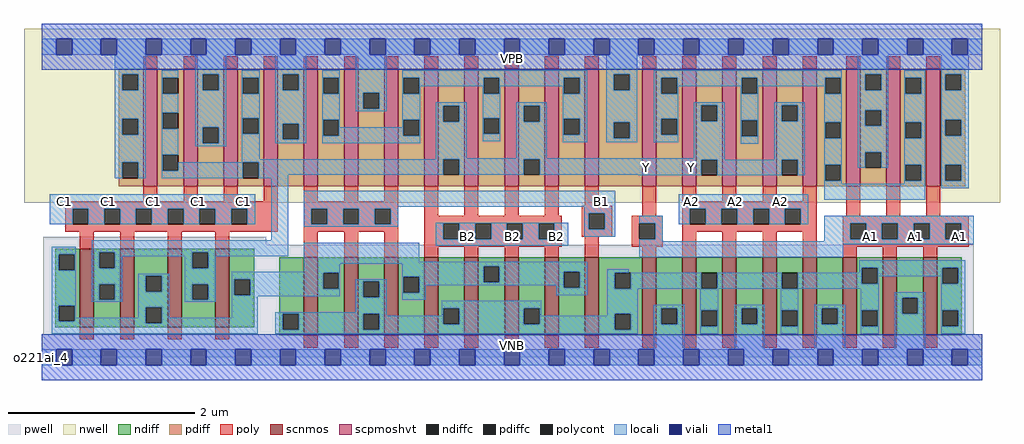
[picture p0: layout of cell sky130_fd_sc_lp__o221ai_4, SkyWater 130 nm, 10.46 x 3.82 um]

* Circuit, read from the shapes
.subckt sky130_fd_sc_lp__o221ai_4 A1 A2 B1 B2 C1 VGND VNB VPB VPWR Y
XM1 Y C1 n1 VNB sky130_fd_pr__nfet_01v8 w=0.84 l=0.15 m=4
XM2 n1 B1 n2 VNB sky130_fd_pr__nfet_01v8 w=0.84 l=0.15 m=4
XM3 n2 B2 n1 VNB sky130_fd_pr__nfet_01v8 w=0.84 l=0.15 m=4
XM4 VGND A1 n2 VNB sky130_fd_pr__nfet_01v8 w=0.84 l=0.15 m=4
XM5 n2 A2 VGND VNB sky130_fd_pr__nfet_01v8 w=0.84 l=0.15 m=4
XM6 Y C1 VPWR VPB sky130_fd_pr__pfet_01v8_hvt w=1.26 l=0.15 m=4
XM7 n3 B1 VPWR VPB sky130_fd_pr__pfet_01v8_hvt w=1.26 l=0.15 m=4
XM8 Y B2 n3 VPB sky130_fd_pr__pfet_01v8_hvt w=1.26 l=0.15 m=4
XM9 n4 A1 VPWR VPB sky130_fd_pr__pfet_01v8_hvt w=1.26 l=0.15 m=4
XM10 Y A2 n4 VPB sky130_fd_pr__pfet_01v8_hvt w=1.26 l=0.15 m=4
.ends

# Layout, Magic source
magic
tech sky130A
magscale 1 2
<< nwell >>
rect -38 331 2054 704
<< pwell >>
rect 3 241 481 259
rect 3 49 1998 241
rect 0 0 2016 49
<< scnmos >>
rect 82 65 112 233
rect 168 65 198 233
rect 270 65 300 233
rect 372 65 402 233
rect 562 47 592 215
rect 648 47 678 215
rect 734 47 764 215
rect 820 47 850 215
rect 906 47 936 215
rect 992 47 1022 215
rect 1078 47 1108 215
rect 1164 47 1194 215
rect 1287 47 1317 215
rect 1373 47 1403 215
rect 1459 47 1489 215
rect 1545 47 1575 215
rect 1631 47 1661 215
rect 1717 47 1747 215
rect 1803 47 1833 215
rect 1889 47 1919 215
<< scpmoshvt >>
rect 218 367 248 619
rect 304 367 334 619
rect 390 367 420 619
rect 476 367 506 619
rect 562 367 592 619
rect 648 367 678 619
rect 734 367 764 619
rect 820 367 850 619
rect 906 367 936 619
rect 992 367 1022 619
rect 1078 367 1108 619
rect 1164 367 1194 619
rect 1287 367 1317 619
rect 1373 367 1403 619
rect 1459 367 1489 619
rect 1545 367 1575 619
rect 1631 367 1661 619
rect 1724 367 1754 619
rect 1810 367 1840 619
rect 1896 367 1926 619
<< ndiff >>
rect 29 221 82 233
rect 29 187 37 221
rect 71 187 82 221
rect 29 111 82 187
rect 29 77 37 111
rect 71 77 82 111
rect 29 65 82 77
rect 112 225 168 233
rect 112 191 123 225
rect 157 191 168 225
rect 112 157 168 191
rect 112 123 123 157
rect 157 123 168 157
rect 112 65 168 123
rect 198 175 270 233
rect 198 141 223 175
rect 257 141 270 175
rect 198 107 270 141
rect 198 73 223 107
rect 257 73 270 107
rect 198 65 270 73
rect 300 225 372 233
rect 300 191 323 225
rect 357 191 372 225
rect 300 157 372 191
rect 300 123 323 157
rect 357 123 372 157
rect 300 65 372 123
rect 402 167 455 233
rect 402 133 413 167
rect 447 133 455 167
rect 402 65 455 133
rect 509 93 562 215
rect 509 59 517 93
rect 551 59 562 93
rect 509 47 562 59
rect 592 181 648 215
rect 592 147 603 181
rect 637 147 648 181
rect 592 47 648 147
rect 678 163 734 215
rect 678 129 689 163
rect 723 129 734 163
rect 678 93 734 129
rect 678 59 689 93
rect 723 59 734 93
rect 678 47 734 59
rect 764 173 820 215
rect 764 139 775 173
rect 809 139 820 173
rect 764 47 820 139
rect 850 105 906 215
rect 850 71 861 105
rect 895 71 906 105
rect 850 47 906 71
rect 936 195 992 215
rect 936 161 947 195
rect 981 161 992 195
rect 936 47 992 161
rect 1022 105 1078 215
rect 1022 71 1033 105
rect 1067 71 1078 105
rect 1022 47 1078 71
rect 1108 183 1164 215
rect 1108 149 1119 183
rect 1153 149 1164 183
rect 1108 47 1164 149
rect 1194 181 1287 215
rect 1194 147 1228 181
rect 1262 147 1287 181
rect 1194 93 1287 147
rect 1194 59 1228 93
rect 1262 59 1287 93
rect 1194 47 1287 59
rect 1317 105 1373 215
rect 1317 71 1328 105
rect 1362 71 1373 105
rect 1317 47 1373 71
rect 1403 181 1459 215
rect 1403 147 1414 181
rect 1448 147 1459 181
rect 1403 101 1459 147
rect 1403 67 1414 101
rect 1448 67 1459 101
rect 1403 47 1459 67
rect 1489 105 1545 215
rect 1489 71 1500 105
rect 1534 71 1545 105
rect 1489 47 1545 71
rect 1575 181 1631 215
rect 1575 147 1586 181
rect 1620 147 1631 181
rect 1575 101 1631 147
rect 1575 67 1586 101
rect 1620 67 1631 101
rect 1575 47 1631 67
rect 1661 105 1717 215
rect 1661 71 1672 105
rect 1706 71 1717 105
rect 1661 47 1717 71
rect 1747 192 1803 215
rect 1747 158 1758 192
rect 1792 158 1803 192
rect 1747 101 1803 158
rect 1747 67 1758 101
rect 1792 67 1803 101
rect 1747 47 1803 67
rect 1833 128 1889 215
rect 1833 94 1844 128
rect 1878 94 1889 128
rect 1833 47 1889 94
rect 1919 192 1972 215
rect 1919 158 1930 192
rect 1964 158 1972 192
rect 1919 101 1972 158
rect 1919 67 1930 101
rect 1964 67 1972 101
rect 1919 47 1972 67
<< pdiff >>
rect 165 607 218 619
rect 165 573 173 607
rect 207 573 218 607
rect 165 511 218 573
rect 165 477 173 511
rect 207 477 218 511
rect 165 418 218 477
rect 165 384 173 418
rect 207 384 218 418
rect 165 367 218 384
rect 248 599 304 619
rect 248 565 259 599
rect 293 565 304 599
rect 248 524 304 565
rect 248 490 259 524
rect 293 490 304 524
rect 248 434 304 490
rect 248 400 259 434
rect 293 400 304 434
rect 248 367 304 400
rect 334 607 390 619
rect 334 573 345 607
rect 379 573 390 607
rect 334 493 390 573
rect 334 459 345 493
rect 379 459 390 493
rect 334 367 390 459
rect 420 599 476 619
rect 420 565 431 599
rect 465 565 476 599
rect 420 513 476 565
rect 420 479 431 513
rect 465 479 476 513
rect 420 418 476 479
rect 420 384 431 418
rect 465 384 476 418
rect 420 367 476 384
rect 506 607 562 619
rect 506 573 517 607
rect 551 573 562 607
rect 506 501 562 573
rect 506 467 517 501
rect 551 467 562 501
rect 506 367 562 467
rect 592 599 648 619
rect 592 565 603 599
rect 637 565 648 599
rect 592 509 648 565
rect 592 475 603 509
rect 637 475 648 509
rect 592 367 648 475
rect 678 567 734 619
rect 678 533 689 567
rect 723 533 734 567
rect 678 367 734 533
rect 764 599 820 619
rect 764 565 775 599
rect 809 565 820 599
rect 764 509 820 565
rect 764 475 775 509
rect 809 475 820 509
rect 764 367 820 475
rect 850 539 906 619
rect 850 505 861 539
rect 895 505 906 539
rect 850 425 906 505
rect 850 391 861 425
rect 895 391 906 425
rect 850 367 906 391
rect 936 599 992 619
rect 936 565 947 599
rect 981 565 992 599
rect 936 513 992 565
rect 936 479 947 513
rect 981 479 992 513
rect 936 367 992 479
rect 1022 539 1078 619
rect 1022 505 1033 539
rect 1067 505 1078 539
rect 1022 425 1078 505
rect 1022 391 1033 425
rect 1067 391 1078 425
rect 1022 367 1078 391
rect 1108 599 1164 619
rect 1108 565 1119 599
rect 1153 565 1164 599
rect 1108 511 1164 565
rect 1108 477 1119 511
rect 1153 477 1164 511
rect 1108 367 1164 477
rect 1194 607 1287 619
rect 1194 573 1226 607
rect 1260 573 1287 607
rect 1194 504 1287 573
rect 1194 470 1226 504
rect 1260 470 1287 504
rect 1194 367 1287 470
rect 1317 599 1373 619
rect 1317 565 1328 599
rect 1362 565 1373 599
rect 1317 511 1373 565
rect 1317 477 1328 511
rect 1362 477 1373 511
rect 1317 367 1373 477
rect 1403 540 1459 619
rect 1403 506 1414 540
rect 1448 506 1459 540
rect 1403 424 1459 506
rect 1403 390 1414 424
rect 1448 390 1459 424
rect 1403 367 1459 390
rect 1489 599 1545 619
rect 1489 565 1500 599
rect 1534 565 1545 599
rect 1489 508 1545 565
rect 1489 474 1500 508
rect 1534 474 1545 508
rect 1489 367 1545 474
rect 1575 540 1631 619
rect 1575 506 1586 540
rect 1620 506 1631 540
rect 1575 424 1631 506
rect 1575 390 1586 424
rect 1620 390 1631 424
rect 1575 367 1631 390
rect 1661 599 1724 619
rect 1661 565 1679 599
rect 1713 565 1724 599
rect 1661 504 1724 565
rect 1661 470 1679 504
rect 1713 470 1724 504
rect 1661 413 1724 470
rect 1661 379 1679 413
rect 1713 379 1724 413
rect 1661 367 1724 379
rect 1754 607 1810 619
rect 1754 573 1765 607
rect 1799 573 1810 607
rect 1754 530 1810 573
rect 1754 496 1765 530
rect 1799 496 1810 530
rect 1754 440 1810 496
rect 1754 406 1765 440
rect 1799 406 1810 440
rect 1754 367 1810 406
rect 1840 599 1896 619
rect 1840 565 1851 599
rect 1885 565 1896 599
rect 1840 504 1896 565
rect 1840 470 1851 504
rect 1885 470 1896 504
rect 1840 413 1896 470
rect 1840 379 1851 413
rect 1885 379 1896 413
rect 1840 367 1896 379
rect 1926 607 1979 619
rect 1926 573 1937 607
rect 1971 573 1979 607
rect 1926 509 1979 573
rect 1926 475 1937 509
rect 1971 475 1979 509
rect 1926 413 1979 475
rect 1926 379 1937 413
rect 1971 379 1979 413
rect 1926 367 1979 379
<< ndiffc >>
rect 37 187 71 221
rect 37 77 71 111
rect 123 191 157 225
rect 123 123 157 157
rect 223 141 257 175
rect 223 73 257 107
rect 323 191 357 225
rect 323 123 357 157
rect 413 133 447 167
rect 517 59 551 93
rect 603 147 637 181
rect 689 129 723 163
rect 689 59 723 93
rect 775 139 809 173
rect 861 71 895 105
rect 947 161 981 195
rect 1033 71 1067 105
rect 1119 149 1153 183
rect 1228 147 1262 181
rect 1228 59 1262 93
rect 1328 71 1362 105
rect 1414 147 1448 181
rect 1414 67 1448 101
rect 1500 71 1534 105
rect 1586 147 1620 181
rect 1586 67 1620 101
rect 1672 71 1706 105
rect 1758 158 1792 192
rect 1758 67 1792 101
rect 1844 94 1878 128
rect 1930 158 1964 192
rect 1930 67 1964 101
<< pdiffc >>
rect 173 573 207 607
rect 173 477 207 511
rect 173 384 207 418
rect 259 565 293 599
rect 259 490 293 524
rect 259 400 293 434
rect 345 573 379 607
rect 345 459 379 493
rect 431 565 465 599
rect 431 479 465 513
rect 431 384 465 418
rect 517 573 551 607
rect 517 467 551 501
rect 603 565 637 599
rect 603 475 637 509
rect 689 533 723 567
rect 775 565 809 599
rect 775 475 809 509
rect 861 505 895 539
rect 861 391 895 425
rect 947 565 981 599
rect 947 479 981 513
rect 1033 505 1067 539
rect 1033 391 1067 425
rect 1119 565 1153 599
rect 1119 477 1153 511
rect 1226 573 1260 607
rect 1226 470 1260 504
rect 1328 565 1362 599
rect 1328 477 1362 511
rect 1414 506 1448 540
rect 1414 390 1448 424
rect 1500 565 1534 599
rect 1500 474 1534 508
rect 1586 506 1620 540
rect 1586 390 1620 424
rect 1679 565 1713 599
rect 1679 470 1713 504
rect 1679 379 1713 413
rect 1765 573 1799 607
rect 1765 496 1799 530
rect 1765 406 1799 440
rect 1851 565 1885 599
rect 1851 470 1885 504
rect 1851 379 1885 413
rect 1937 573 1971 607
rect 1937 475 1971 509
rect 1937 379 1971 413
<< poly >>
rect 218 619 248 645
rect 304 619 334 645
rect 390 619 420 645
rect 476 619 506 645
rect 562 619 592 645
rect 648 619 678 645
rect 734 619 764 645
rect 820 619 850 645
rect 906 619 936 645
rect 992 619 1022 645
rect 1078 619 1108 645
rect 1164 619 1194 645
rect 1287 619 1317 645
rect 1373 619 1403 645
rect 1459 619 1489 645
rect 1545 619 1575 645
rect 1631 619 1661 645
rect 1724 619 1754 645
rect 1810 619 1840 645
rect 1896 619 1926 645
rect 218 335 248 367
rect 304 335 334 367
rect 390 335 420 367
rect 476 335 506 367
rect 50 319 506 335
rect 50 285 66 319
rect 100 285 134 319
rect 168 285 202 319
rect 236 285 270 319
rect 304 285 338 319
rect 372 285 406 319
rect 440 285 506 319
rect 50 269 506 285
rect 562 335 592 367
rect 648 335 678 367
rect 734 335 764 367
rect 562 319 764 335
rect 562 285 578 319
rect 612 285 646 319
rect 680 285 714 319
rect 748 285 764 319
rect 562 269 764 285
rect 82 233 112 269
rect 168 233 198 269
rect 270 233 300 269
rect 372 233 402 269
rect 562 215 592 269
rect 648 215 678 269
rect 734 215 764 269
rect 820 303 850 367
rect 906 303 936 367
rect 992 303 1022 367
rect 1078 303 1108 367
rect 1164 325 1194 367
rect 1157 309 1223 325
rect 820 287 1115 303
rect 820 253 861 287
rect 895 253 929 287
rect 963 253 997 287
rect 1031 253 1065 287
rect 1099 253 1115 287
rect 1157 275 1173 309
rect 1207 275 1223 309
rect 1287 303 1317 367
rect 1373 335 1403 367
rect 1459 335 1489 367
rect 1545 335 1575 367
rect 1631 335 1661 367
rect 1373 319 1661 335
rect 1157 259 1223 275
rect 1265 287 1331 303
rect 820 237 1115 253
rect 820 215 850 237
rect 906 215 936 237
rect 992 215 1022 237
rect 1078 215 1108 237
rect 1164 215 1194 259
rect 1265 253 1281 287
rect 1315 253 1331 287
rect 1265 237 1331 253
rect 1373 285 1389 319
rect 1423 285 1457 319
rect 1491 285 1525 319
rect 1559 285 1593 319
rect 1627 285 1661 319
rect 1724 303 1754 367
rect 1810 303 1840 367
rect 1896 303 1926 367
rect 1373 269 1661 285
rect 1287 215 1317 237
rect 1373 215 1403 269
rect 1459 215 1489 269
rect 1545 215 1575 269
rect 1631 215 1661 269
rect 1717 287 1987 303
rect 1717 253 1733 287
rect 1767 253 1801 287
rect 1835 253 1869 287
rect 1903 253 1937 287
rect 1971 253 1987 287
rect 1717 237 1987 253
rect 1717 215 1747 237
rect 1803 215 1833 237
rect 1889 215 1919 237
rect 82 39 112 65
rect 168 39 198 65
rect 270 39 300 65
rect 372 39 402 65
rect 562 21 592 47
rect 648 21 678 47
rect 734 21 764 47
rect 820 21 850 47
rect 906 21 936 47
rect 992 21 1022 47
rect 1078 21 1108 47
rect 1164 21 1194 47
rect 1287 21 1317 47
rect 1373 21 1403 47
rect 1459 21 1489 47
rect 1545 21 1575 47
rect 1631 21 1661 47
rect 1717 21 1747 47
rect 1803 21 1833 47
rect 1889 21 1919 47
<< polycont >>
rect 66 285 100 319
rect 134 285 168 319
rect 202 285 236 319
rect 270 285 304 319
rect 338 285 372 319
rect 406 285 440 319
rect 578 285 612 319
rect 646 285 680 319
rect 714 285 748 319
rect 861 253 895 287
rect 929 253 963 287
rect 997 253 1031 287
rect 1065 253 1099 287
rect 1173 275 1207 309
rect 1281 253 1315 287
rect 1389 285 1423 319
rect 1457 285 1491 319
rect 1525 285 1559 319
rect 1593 285 1627 319
rect 1733 253 1767 287
rect 1801 253 1835 287
rect 1869 253 1903 287
rect 1937 253 1971 287
<< locali >>
rect 0 649 31 683
rect 65 649 127 683
rect 161 649 223 683
rect 257 649 319 683
rect 353 649 415 683
rect 449 649 511 683
rect 545 649 607 683
rect 641 649 703 683
rect 737 649 799 683
rect 833 649 895 683
rect 929 649 991 683
rect 1025 649 1087 683
rect 1121 649 1183 683
rect 1217 649 1279 683
rect 1313 649 1375 683
rect 1409 649 1471 683
rect 1505 649 1567 683
rect 1601 649 1663 683
rect 1697 649 1759 683
rect 1793 649 1855 683
rect 1889 649 1951 683
rect 1985 649 2016 683
rect 157 607 223 649
rect 157 573 173 607
rect 207 573 223 607
rect 157 511 223 573
rect 157 477 173 511
rect 207 477 223 511
rect 157 418 223 477
rect 157 384 173 418
rect 207 384 223 418
rect 257 599 293 615
rect 257 565 259 599
rect 257 524 293 565
rect 257 490 259 524
rect 257 434 293 490
rect 329 607 395 649
rect 329 573 345 607
rect 379 573 395 607
rect 329 493 395 573
rect 329 459 345 493
rect 379 459 395 493
rect 329 452 395 459
rect 429 599 467 615
rect 429 565 431 599
rect 465 565 467 599
rect 429 513 467 565
rect 429 479 431 513
rect 465 479 467 513
rect 257 400 259 434
rect 429 425 467 479
rect 501 607 567 649
rect 501 573 517 607
rect 551 573 567 607
rect 501 501 567 573
rect 501 467 517 501
rect 551 467 567 501
rect 501 459 567 467
rect 601 599 639 615
rect 601 565 603 599
rect 637 565 639 599
rect 601 509 639 565
rect 673 567 739 649
rect 673 533 689 567
rect 723 533 739 567
rect 673 527 739 533
rect 773 599 1169 615
rect 773 565 775 599
rect 809 581 947 599
rect 809 565 811 581
rect 601 475 603 509
rect 637 493 639 509
rect 773 509 811 565
rect 945 565 947 581
rect 981 581 1119 599
rect 981 565 983 581
rect 773 493 775 509
rect 637 475 775 493
rect 809 475 811 509
rect 601 459 811 475
rect 845 539 911 547
rect 845 505 861 539
rect 895 505 911 539
rect 845 427 911 505
rect 945 513 983 565
rect 1117 565 1119 581
rect 1153 565 1169 599
rect 945 479 947 513
rect 981 479 983 513
rect 945 463 983 479
rect 1017 539 1083 547
rect 1017 505 1033 539
rect 1067 505 1083 539
rect 1017 427 1083 505
rect 1117 511 1169 565
rect 1117 477 1119 511
rect 1153 477 1169 511
rect 1117 461 1169 477
rect 1210 607 1276 649
rect 1210 573 1226 607
rect 1260 573 1276 607
rect 1210 504 1276 573
rect 1210 470 1226 504
rect 1260 470 1276 504
rect 1210 461 1276 470
rect 1312 599 1715 615
rect 1312 565 1328 599
rect 1362 581 1500 599
rect 1362 565 1364 581
rect 1312 511 1364 565
rect 1498 565 1500 581
rect 1534 581 1679 599
rect 1534 565 1536 581
rect 1312 477 1328 511
rect 1362 477 1364 511
rect 1312 461 1364 477
rect 1398 540 1464 547
rect 1398 506 1414 540
rect 1448 506 1464 540
rect 1398 427 1464 506
rect 1498 508 1536 565
rect 1677 565 1679 581
rect 1713 565 1715 599
rect 1498 474 1500 508
rect 1534 474 1536 508
rect 1498 458 1536 474
rect 1570 540 1636 547
rect 1570 506 1586 540
rect 1620 506 1636 540
rect 845 425 1464 427
rect 429 418 861 425
rect 293 400 431 418
rect 257 384 431 400
rect 465 391 861 418
rect 895 391 1033 425
rect 1067 424 1464 425
rect 1570 424 1636 506
rect 1067 391 1414 424
rect 465 384 528 391
rect 1279 390 1414 391
rect 1448 390 1586 424
rect 1620 390 1636 424
rect 1677 504 1715 565
rect 1677 470 1679 504
rect 1713 470 1715 504
rect 1677 413 1715 470
rect 17 319 458 350
rect 17 285 66 319
rect 100 285 134 319
rect 168 285 202 319
rect 236 285 270 319
rect 304 285 338 319
rect 372 285 406 319
rect 440 285 458 319
rect 492 251 528 384
rect 1677 379 1679 413
rect 1713 379 1715 413
rect 1749 607 1815 649
rect 1749 573 1765 607
rect 1799 573 1815 607
rect 1749 530 1815 573
rect 1749 496 1765 530
rect 1799 496 1815 530
rect 1749 440 1815 496
rect 1749 406 1765 440
rect 1799 406 1815 440
rect 1849 599 1894 615
rect 1849 565 1851 599
rect 1885 565 1894 599
rect 1849 504 1894 565
rect 1849 470 1851 504
rect 1885 470 1894 504
rect 1849 413 1894 470
rect 1677 372 1715 379
rect 1849 379 1851 413
rect 1885 379 1894 413
rect 1849 372 1894 379
rect 562 323 1229 357
rect 562 319 764 323
rect 562 285 578 319
rect 612 285 646 319
rect 680 285 714 319
rect 748 285 764 319
rect 1163 309 1229 323
rect 562 280 764 285
rect 845 287 1129 289
rect 21 221 73 237
rect 21 187 37 221
rect 71 187 73 221
rect 21 111 73 187
rect 107 225 528 251
rect 845 253 861 287
rect 895 253 929 287
rect 963 253 997 287
rect 1031 253 1065 287
rect 1099 253 1129 287
rect 1163 275 1173 309
rect 1207 275 1229 309
rect 1365 319 1643 350
rect 1677 338 1894 372
rect 1928 607 1987 649
rect 1928 573 1937 607
rect 1971 573 1987 607
rect 1928 509 1987 573
rect 1928 475 1937 509
rect 1971 475 1987 509
rect 1928 413 1987 475
rect 1928 379 1937 413
rect 1971 379 1987 413
rect 1928 363 1987 379
rect 1163 259 1229 275
rect 1281 287 1331 303
rect 107 191 123 225
rect 157 217 323 225
rect 157 191 173 217
rect 107 157 173 191
rect 307 191 323 217
rect 357 217 528 225
rect 357 191 373 217
rect 107 123 123 157
rect 157 123 173 157
rect 107 119 173 123
rect 207 175 273 179
rect 207 141 223 175
rect 257 141 273 175
rect 21 77 37 111
rect 71 85 73 111
rect 207 107 273 141
rect 307 157 373 191
rect 562 205 809 246
rect 845 239 1129 253
rect 1315 253 1331 287
rect 1365 285 1389 319
rect 1423 285 1457 319
rect 1491 285 1525 319
rect 1559 285 1593 319
rect 1627 285 1643 319
rect 1677 287 1998 304
rect 1281 249 1331 253
rect 1677 253 1733 287
rect 1767 253 1801 287
rect 1835 253 1869 287
rect 1903 253 1937 287
rect 1971 253 1998 287
rect 1677 249 1998 253
rect 1281 242 1998 249
rect 1281 215 1718 242
rect 562 201 1169 205
rect 562 183 639 201
rect 307 123 323 157
rect 357 123 373 157
rect 307 119 373 123
rect 407 181 639 183
rect 407 167 603 181
rect 407 133 413 167
rect 447 147 603 167
rect 637 147 639 181
rect 773 195 1169 201
rect 773 173 947 195
rect 447 133 639 147
rect 407 131 639 133
rect 673 163 739 167
rect 207 85 223 107
rect 71 77 223 85
rect 21 73 223 77
rect 257 85 273 107
rect 407 85 463 131
rect 673 129 689 163
rect 723 129 739 163
rect 673 97 739 129
rect 773 139 775 173
rect 809 161 947 173
rect 981 183 1169 195
rect 1752 192 1980 208
rect 981 161 1119 183
rect 809 155 1119 161
rect 809 139 823 155
rect 773 123 823 139
rect 1103 149 1119 155
rect 1153 149 1169 183
rect 1103 133 1169 149
rect 1212 181 1258 189
rect 1752 181 1758 192
rect 1212 147 1228 181
rect 1262 147 1414 181
rect 1448 147 1586 181
rect 1620 158 1758 181
rect 1792 174 1930 192
rect 1792 158 1794 174
rect 1620 147 1794 158
rect 257 73 463 85
rect 21 51 463 73
rect 501 93 739 97
rect 501 59 517 93
rect 551 59 689 93
rect 723 89 739 93
rect 857 105 1071 121
rect 857 89 861 105
rect 723 71 861 89
rect 895 71 1033 105
rect 1067 89 1071 105
rect 1212 93 1278 147
rect 1212 89 1228 93
rect 1067 71 1228 89
rect 723 59 1228 71
rect 1262 59 1278 93
rect 501 51 1278 59
rect 1312 105 1378 113
rect 1312 71 1328 105
rect 1362 71 1378 105
rect 1312 17 1378 71
rect 1412 101 1450 147
rect 1412 67 1414 101
rect 1448 67 1450 101
rect 1412 51 1450 67
rect 1484 105 1550 113
rect 1484 71 1500 105
rect 1534 71 1550 105
rect 1484 17 1550 71
rect 1584 101 1622 147
rect 1584 67 1586 101
rect 1620 67 1622 101
rect 1584 51 1622 67
rect 1656 105 1722 113
rect 1656 71 1672 105
rect 1706 71 1722 105
rect 1656 17 1722 71
rect 1756 101 1794 147
rect 1928 158 1930 174
rect 1964 158 1980 192
rect 1756 67 1758 101
rect 1792 67 1794 101
rect 1756 51 1794 67
rect 1828 128 1894 140
rect 1828 94 1844 128
rect 1878 94 1894 128
rect 1828 17 1894 94
rect 1928 101 1980 158
rect 1928 67 1930 101
rect 1964 67 1980 101
rect 1928 51 1980 67
rect 0 -17 31 17
rect 65 -17 127 17
rect 161 -17 223 17
rect 257 -17 319 17
rect 353 -17 415 17
rect 449 -17 511 17
rect 545 -17 607 17
rect 641 -17 703 17
rect 737 -17 799 17
rect 833 -17 895 17
rect 929 -17 991 17
rect 1025 -17 1087 17
rect 1121 -17 1183 17
rect 1217 -17 1279 17
rect 1313 -17 1375 17
rect 1409 -17 1471 17
rect 1505 -17 1567 17
rect 1601 -17 1663 17
rect 1697 -17 1759 17
rect 1793 -17 1855 17
rect 1889 -17 1951 17
rect 1985 -17 2016 17
<< viali >>
rect 31 649 65 683
rect 127 649 161 683
rect 223 649 257 683
rect 319 649 353 683
rect 415 649 449 683
rect 511 649 545 683
rect 607 649 641 683
rect 703 649 737 683
rect 799 649 833 683
rect 895 649 929 683
rect 991 649 1025 683
rect 1087 649 1121 683
rect 1183 649 1217 683
rect 1279 649 1313 683
rect 1375 649 1409 683
rect 1471 649 1505 683
rect 1567 649 1601 683
rect 1663 649 1697 683
rect 1759 649 1793 683
rect 1855 649 1889 683
rect 1951 649 1985 683
rect 31 -17 65 17
rect 127 -17 161 17
rect 223 -17 257 17
rect 319 -17 353 17
rect 415 -17 449 17
rect 511 -17 545 17
rect 607 -17 641 17
rect 703 -17 737 17
rect 799 -17 833 17
rect 895 -17 929 17
rect 991 -17 1025 17
rect 1087 -17 1121 17
rect 1183 -17 1217 17
rect 1279 -17 1313 17
rect 1375 -17 1409 17
rect 1471 -17 1505 17
rect 1567 -17 1601 17
rect 1663 -17 1697 17
rect 1759 -17 1793 17
rect 1855 -17 1889 17
rect 1951 -17 1985 17
<< metal1 >>
rect 0 683 2016 715
rect 0 649 31 683
rect 65 649 127 683
rect 161 649 223 683
rect 257 649 319 683
rect 353 649 415 683
rect 449 649 511 683
rect 545 649 607 683
rect 641 649 703 683
rect 737 649 799 683
rect 833 649 895 683
rect 929 649 991 683
rect 1025 649 1087 683
rect 1121 649 1183 683
rect 1217 649 1279 683
rect 1313 649 1375 683
rect 1409 649 1471 683
rect 1505 649 1567 683
rect 1601 649 1663 683
rect 1697 649 1759 683
rect 1793 649 1855 683
rect 1889 649 1951 683
rect 1985 649 2016 683
rect 0 617 2016 649
rect 0 17 2016 49
rect 0 -17 31 17
rect 65 -17 127 17
rect 161 -17 223 17
rect 257 -17 319 17
rect 353 -17 415 17
rect 449 -17 511 17
rect 545 -17 607 17
rect 641 -17 703 17
rect 737 -17 799 17
rect 833 -17 895 17
rect 929 -17 991 17
rect 1025 -17 1087 17
rect 1121 -17 1183 17
rect 1217 -17 1279 17
rect 1313 -17 1375 17
rect 1409 -17 1471 17
rect 1505 -17 1567 17
rect 1601 -17 1663 17
rect 1697 -17 1759 17
rect 1793 -17 1855 17
rect 1889 -17 1951 17
rect 1985 -17 2016 17
rect 0 -49 2016 -17
<< labels >>
flabel pwell s 0 0 2016 49 0 FreeSans 200 0 0 0 VNB
port 7 nsew ground bidirectional
flabel nwell s 0 617 2016 666 0 FreeSans 200 0 0 0 VPB
port 8 nsew power bidirectional
rlabel comment s 0 0 0 0 4 o221ai_4
flabel metal1 s 0 617 2016 666 0 FreeSans 340 0 0 0 VPWR
port 9 nsew power bidirectional
flabel metal1 s 0 0 2016 49 0 FreeSans 340 0 0 0 VGND
port 6 nsew ground bidirectional
flabel locali s 1759 242 1793 276 0 FreeSans 340 0 0 0 A1
port 1 nsew signal input
flabel locali s 1855 242 1889 276 0 FreeSans 340 0 0 0 A1
port 1 nsew signal input
flabel locali s 1951 242 1985 276 0 FreeSans 340 0 0 0 A1
port 1 nsew signal input
flabel locali s 1279 390 1313 424 0 FreeSans 340 0 0 0 Y
port 10 nsew signal output
flabel locali s 1375 390 1409 424 0 FreeSans 340 0 0 0 Y
port 10 nsew signal output
flabel locali s 895 242 929 276 0 FreeSans 340 0 0 0 B2
port 4 nsew signal input
flabel locali s 991 242 1025 276 0 FreeSans 340 0 0 0 B2
port 4 nsew signal input
flabel locali s 1087 242 1121 276 0 FreeSans 340 0 0 0 B2
port 4 nsew signal input
flabel locali s 31 316 65 350 0 FreeSans 340 0 0 0 C1
port 5 nsew signal input
flabel locali s 127 316 161 350 0 FreeSans 340 0 0 0 C1
port 5 nsew signal input
flabel locali s 223 316 257 350 0 FreeSans 340 0 0 0 C1
port 5 nsew signal input
flabel locali s 319 316 353 350 0 FreeSans 340 0 0 0 C1
port 5 nsew signal input
flabel locali s 415 316 449 350 0 FreeSans 340 0 0 0 C1
port 5 nsew signal input
flabel locali s 1375 316 1409 350 0 FreeSans 340 0 0 0 A2
port 2 nsew signal input
flabel locali s 1471 316 1505 350 0 FreeSans 340 0 0 0 A2
port 2 nsew signal input
flabel locali s 1567 316 1601 350 0 FreeSans 340 0 0 0 A2
port 2 nsew signal input
flabel locali s 1183 316 1217 350 0 FreeSans 340 0 0 0 B1
port 3 nsew signal input
<< properties >>
string LEFsite unit
string LEFclass CORE
string FIXED_BBOX 0 0 2016 666
string GDS_FILE $PDKPATH/libs.ref/sky130_fd_sc_lp/gds/sky130_fd_sc_lp.gds
string LEFsymmetry X Y R90
string GDS_END 5886336
string GDS_START 5869748
<< end >>
